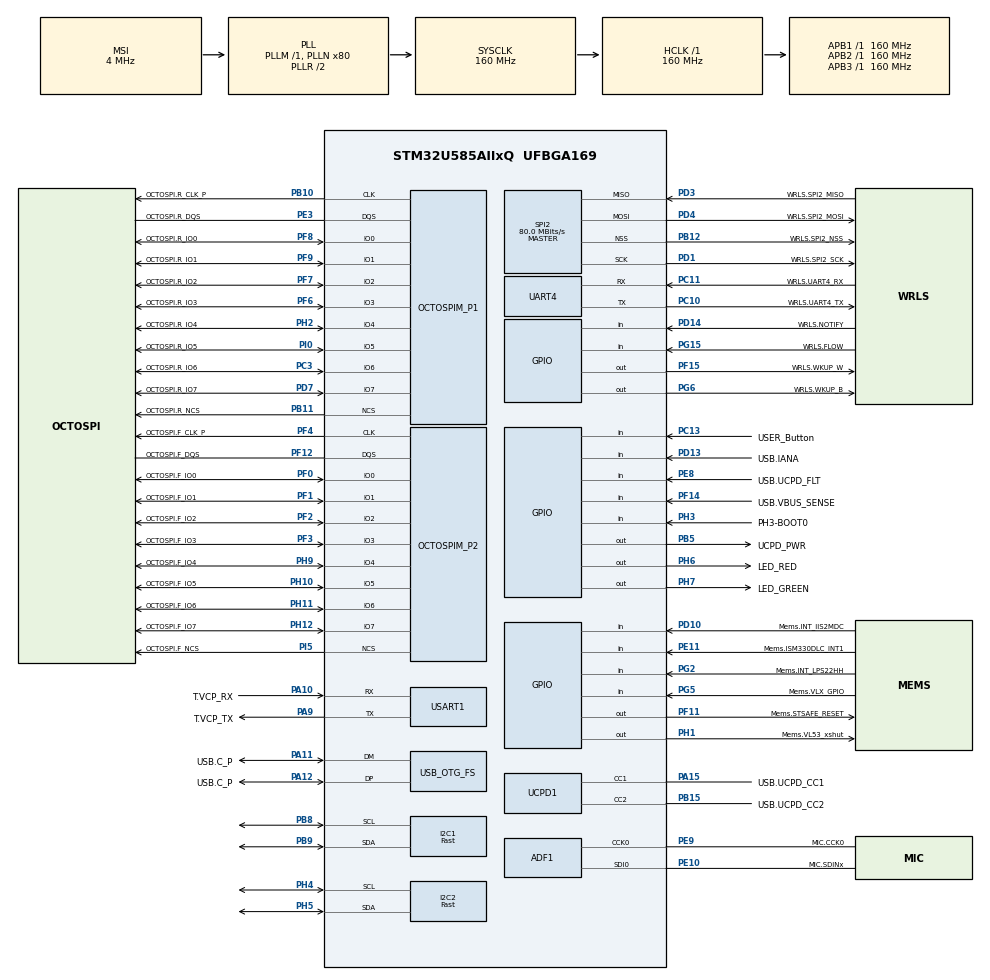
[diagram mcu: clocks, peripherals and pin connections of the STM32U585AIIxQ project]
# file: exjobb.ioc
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CORTEX_M33_NS.userName=CORTEX_M33
I2C1.I2C_Speed_Mode=I2C_Fast
I2C1.Timing=0x00F07BFF
I2C2.I2C_Speed_Mode=I2C_Fast
I2C2.Timing=0x00F07BFF
Mcu.Family=STM32U5
Mcu.Name=STM32U585AIIxQ
Mcu.Package=UFBGA169
NVIC.PriorityGroup=NVIC_PRIORITYGROUP_4
NVIC.TIM6_IRQn=true\:15\:0\:false\:false\:true\:false\:true\:true
NVIC.TimeBase=TIM6_IRQn
NVIC.TimeBaseIP=TIM6
NVIC.USART1_IRQn=true\:0\:0\:false\:false\:true\:true\:true\:true
OCTOSPI1.ChipSelectBoundary=10
OCTOSPI1.ClockPrescaler=2
OCTOSPI1.DelayBlockBypass=HAL_OSPI_DELAY_BLOCK_USED
OCTOSPI1.DelayHoldQuarterCycle=HAL_OSPI_DHQC_ENABLE
OCTOSPI1.DeviceSize=23
OCTOSPI1.MemoryType=HAL_OSPI_MEMTYPE_APMEMORY
OCTOSPI1.Refresh=100
OCTOSPI2.ChipSelectBoundary=0
OCTOSPI2.ChipSelectHighTime=2
OCTOSPI2.ClockPrescaler=4
OCTOSPI2.DelayBlockBypass=HAL_OSPI_DELAY_BLOCK_USED
OCTOSPI2.DelayHoldQuarterCycle=HAL_OSPI_DHQC_ENABLE
OCTOSPI2.DeviceSize=26
OCTOSPI2.FifoThreshold=4
OCTOSPI2.MemoryType=HAL_OSPI_MEMTYPE_MACRONIX
PA10.GPIO_Label=T.VCP_RX
PA10.Mode=Asynchronous
PA10.Signal=USART1_RX
PA11.GPIO_Label=USB.C_P
PA11.Mode=Device_Only
PA11.Signal=USB_OTG_FS_DM
PA12.GPIO_Label=USB.C_P
PA12.Mode=Device_Only
PA12.Signal=USB_OTG_FS_DP
PA13\ (JTMS/SWDIO).GPIO_Label=T.SWDIO
PA13\ (JTMS/SWDIO).Mode=Trace_Asynchronous_SW
PA13\ (JTMS/SWDIO).Signal=DEBUG_JTMS-SWDIO
PA14\ (JTCK/SWCLK).GPIO_Label=T.SWCLK
PA14\ (JTCK/SWCLK).Mode=Trace_Asynchronous_SW
PA14\ (JTCK/SWCLK).Signal=DEBUG_JTCK-SWCLK
PA15\ (JTDI).GPIO_Label=USB.UCPD_CC1
PA15\ (JTDI).Mode=Dual_Role_AllSignals
PA15\ (JTDI).Signal=UCPD1_CC1
PA9.GPIO_Label=T.VCP_TX
PA9.Mode=Asynchronous
PA9.Signal=USART1_TX
PB1.GPIO_Label=MIC.SDIN0
PB1.Signal=MDF1_SDI0
PB10.GPIO_Label=OCTOSPI.R_CLK_P
PB10.Mode=O1_P1_CLK
PB10.Signal=OCTOSPIM_P1_CLK
PB11.GPIO_Label=OCTOSPI.R_NCS
PB11.Mode=OCTOSPI1_Port1_NCS
PB11.Signal=OCTOSPIM_P1_NCS
PB12.GPIO_Label=WRLS.SPI2_NSS
PB12.Mode=NSS_Signal_Hard_Output
PB12.Signal=SPI2_NSS
PB15.GPIO_Label=USB.UCPD_CC2
PB15.Mode=Dual_Role_AllSignals
PB15.Signal=UCPD1_CC2
PB3\ (JTDO/TRACESWO).GPIO_Label=T.SWO
PB3\ (JTDO/TRACESWO).Mode=Trace_Asynchronous_SW
PB3\ (JTDO/TRACESWO).Signal=DEBUG_JTDO-SWO
PB5.GPIO_Label=UCPD_PWR
PB5.Signal=GPIO_Output
PB8.Mode=I2C
PB8.Signal=I2C1_SCL
PB9.Mode=I2C
PB9.Signal=I2C1_SDA
PC10.GPIO_Label=WRLS.UART4_TX
PC10.Mode=Asynchronous
PC10.Signal=UART4_TX
PC11.GPIO_Label=WRLS.UART4_RX
PC11.Mode=Asynchronous
PC11.Signal=UART4_RX
PC13.GPIO_Label=USER_Button
PC13.Signal=GPIO_Input
PC14-OSC32_IN\ (PC14).GPIO_Label=PC14-OSC32_IN
PC14-OSC32_IN\ (PC14).Mode=LSE-External-Oscillator
PC14-OSC32_IN\ (PC14).Signal=RCC_OSC32_IN
PC15-OSC32_OUT\ (PC15).GPIO_Label=PC15-OSC32_OUT
PC15-OSC32_OUT\ (PC15).Mode=LSE-External-Oscillator
PC15-OSC32_OUT\ (PC15).Signal=RCC_OSC32_OUT
PC3.GPIO_Label=OCTOSPI.R_IO6
PC3.Mode=OCTOSPI1_IOH_Port1H
PC3.Signal=OCTOSPIM_P1_IO6
PD1.GPIO_Label=WRLS.SPI2_SCK
PD1.Mode=Full_Duplex_Master
PD1.Signal=SPI2_SCK
PD10.GPIO_Label=Mems.INT_IIS2MDC
PD10.Signal=GPIO_Input
PD13.GPIO_Label=USB.IANA
PD13.Signal=GPIO_Input
PD14.GPIO_Label=WRLS.NOTIFY
PD14.Signal=GPIO_Input
PD3.GPIO_Label=WRLS.SPI2_MISO
PD3.Mode=Full_Duplex_Master
PD3.Signal=SPI2_MISO
PD4.GPIO_Label=WRLS.SPI2_MOSI
PD4.Mode=Full_Duplex_Master
PD4.Signal=SPI2_MOSI
PD7.GPIO_Label=OCTOSPI.R_IO7
PD7.Mode=OCTOSPI1_IOH_Port1H
PD7.Signal=OCTOSPIM_P1_IO7
PE10.GPIO_Label=MIC.SDINx
PE10.Mode=MOD_ADF_CCK
PE10.Signal=ADF1_SDI0
PE11.GPIO_Label=Mems.ISM330DLC_INT1
PE11.Signal=GPIO_Input
PE3.GPIO_Label=OCTOSPI.R_DQS
PE3.Mode=OCTOSPI1_Port1_DQS
PE3.Signal=OCTOSPIM_P1_DQS
PE8.GPIO_Label=USB.UCPD_FLT
PE8.Signal=GPIO_Input
PE9.GPIO_Label=MIC.CCK0
PE9.Mode=MOD_MDF_CCK0
PE9.Signal=ADF1_CCK0
PF0.GPIO_Label=OCTOSPI.F_IO0
PF0.Mode=OCTOSPI2_IOL_Port2L
PF0.Signal=OCTOSPIM_P2_IO0
PF1.GPIO_Label=OCTOSPI.F_IO1
PF1.Mode=OCTOSPI2_IOL_Port2L
PF1.Signal=OCTOSPIM_P2_IO1
PF10.GPIO_Label=MIC.CCK1
PF10.Signal=MDF1_CCK1
PF11.GPIO_Label=Mems.STSAFE_RESET
PF11.Signal=GPIO_Output
PF12.GPIO_Label=OCTOSPI.F_DQS
PF12.Mode=OCTOSPI2_Port2_DQS
PF12.Signal=OCTOSPIM_P2_DQS
PF14.GPIO_Label=USB.VBUS_SENSE
PF14.Signal=GPIO_Input
PF15.GPIO_Label=WRLS.WKUP_W
PF15.Signal=GPIO_Output
PF2.GPIO_Label=OCTOSPI.F_IO2
PF2.Mode=OCTOSPI2_IOL_Port2L
PF2.Signal=OCTOSPIM_P2_IO2
PF3.GPIO_Label=OCTOSPI.F_IO3
PF3.Mode=OCTOSPI2_IOL_Port2L
PF3.Signal=OCTOSPIM_P2_IO3
PF4.GPIO_Label=OCTOSPI.F_CLK_P
PF4.Mode=O2_P2_CLK
PF4.Signal=OCTOSPIM_P2_CLK
PF6.GPIO_Label=OCTOSPI.R_IO3
PF6.Mode=OCTOSPI1_IOL_Port1L
PF6.Signal=OCTOSPIM_P1_IO3
PF7.GPIO_Label=OCTOSPI.R_IO2
PF7.Mode=OCTOSPI1_IOL_Port1L
PF7.Signal=OCTOSPIM_P1_IO2
PF8.GPIO_Label=OCTOSPI.R_IO0
PF8.Mode=OCTOSPI1_IOL_Port1L
PF8.Signal=OCTOSPIM_P1_IO0
PF9.GPIO_Label=OCTOSPI.R_IO1
PF9.Mode=OCTOSPI1_IOL_Port1L
PF9.Signal=OCTOSPIM_P1_IO1
PG15.GPIO_Label=WRLS.FLOW
PG15.Signal=GPIO_Input
PG2.GPIO_Label=Mems.INT_LPS22HH
PG2.Signal=GPIO_Input
PG5.GPIO_Label=Mems.VLX_GPIO
PG5.Signal=GPIO_Input
PG6.GPIO_Label=WRLS.WKUP_B
PG6.Signal=GPIO_Output
PH1-OSC_OUT\ (PH1).GPIO_Label=Mems.VL53_xshut
PH1-OSC_OUT\ (PH1).Signal=GPIO_Output
PH10.GPIO_Label=OCTOSPI.F_IO5
PH10.Mode=OCTOSPI2_IOH_Port2H
PH10.Signal=OCTOSPIM_P2_IO5
PH11.GPIO_Label=OCTOSPI.F_IO6
PH11.Mode=OCTOSPI2_IOH_Port2H
PH11.Signal=OCTOSPIM_P2_IO6
PH12.GPIO_Label=OCTOSPI.F_IO7
PH12.Mode=OCTOSPI2_IOH_Port2H
PH12.Signal=OCTOSPIM_P2_IO7
PH2.GPIO_Label=OCTOSPI.R_IO4
PH2.Mode=OCTOSPI1_IOH_Port1H
PH2.Signal=OCTOSPIM_P1_IO4
PH3-BOOT0.GPIO_Label=PH3-BOOT0
PH3-BOOT0.Signal=GPIO_Input
PH4.Mode=I2C
PH4.Signal=I2C2_SCL
PH5.Mode=I2C
PH5.Signal=I2C2_SDA
PH6.GPIO_Label=LED_RED
PH6.Signal=GPIO_Output
PH7.GPIO_Label=LED_GREEN
PH7.Signal=GPIO_Output
PH9.GPIO_Label=OCTOSPI.F_IO4
PH9.Mode=OCTOSPI2_IOH_Port2H
PH9.Signal=OCTOSPIM_P2_IO4
PI0.GPIO_Label=OCTOSPI.R_IO5
PI0.Mode=OCTOSPI1_IOH_Port1H
PI0.Signal=OCTOSPIM_P1_IO5
PI5.GPIO_Label=OCTOSPI.F_NCS
PI5.Mode=OCTOSPI2_Port2_NCS
PI5.Signal=OCTOSPIM_P2_NCS
PWR.PowerMode=PWR_SMPS_SUPPLY
ProjectManager.HeapSize=0x200
ProjectManager.StackSize=0x400
ProjectManager.TargetToolchain=STM32CubeIDE
RCC.ADCFreq_Value=16000000
RCC.AHBFreq_Value=160000000
RCC.APB1Freq_Value=160000000
RCC.APB1TimFreq_Value=160000000
RCC.APB2Freq_Value=160000000
RCC.APB2TimFreq_Value=160000000
RCC.APB3Freq_Value=160000000
RCC.CortexFreq_Value=160000000
RCC.DACCLockSelectionVirtual=RCC_DAC1CLKSOURCE_LSI
RCC.EPOD_VALUE=4000000
RCC.HCLKFreq_Value=160000000
RCC.HSE_VALUE=16000000
RCC.HSI48_VALUE=48000000
RCC.HSI_VALUE=16000000
RCC.LSIDIV_VALUE=32000
RCC.MSI_VALUE=4000000
RCC.PLLN=80
RCC.SYSCLKFreq_VALUE=160000000
RCC.SYSCLKSource=RCC_SYSCLKSOURCE_PLLCLK
RCC.USBFreq_Value=48000000
RCC.VCOOutputFreq_Value=320000000
SPI2.CalculateBaudRate=80.0 MBits/s
SPI2.Direction=SPI_DIRECTION_2LINES
SPI2.Mode=SPI_MODE_MASTER
SPI2.VirtualNSS=VM_NSSHARD
SPI2.VirtualType=VM_MASTER
USART1.VirtualMode-Asynchronous=VM_ASYNC
USB_OTG_FS.VirtualMode=Device_Only
VP_ICACHE_VS_ICACHE.Mode=DirectMappedCache
VP_LPBAMQUEUE_VS_QUEUE.Mode=QUEUEMODE
VP_LPBAM_VS_SIG1.Mode=SmartRun
VP_LPBAM_VS_SIG4.Mode=LPDMA1
VP_MEMORYMAP_VS_MEMORYMAP.Mode=CurAppReg
VP_OCTOSPI1_VS_octo.Mode=octo_mode
VP_OCTOSPI2_VS_octo.Mode=octo_mode
VP_PWR_VS_DBSignals.Mode=DisableDeadBatterySignals
VP_PWR_VS_LPOM.Mode=PowerOptimisation
VP_PWR_VS_SECSignals.Mode=Security/Privilege
VP_SYS_VS_tim6.Mode=TIM6
board=B-U585I-IOT02A

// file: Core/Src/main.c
/* USER CODE BEGIN Header */
/**
  ******************************************************************************
  * @file           : main.c
  * @brief          : Main program body
  ******************************************************************************
  * @attention
  *
  * Copyright (c) 2025 STMicroelectronics.
  * All rights reserved.
  *
  * This software is licensed under terms that can be found in the LICENSE file
  * in the root directory of this software component.
  * If no LICENSE file comes with this software, it is provided AS-IS.
  *
  ******************************************************************************
  */
/* USER CODE END Header */
#include "main.h"

/* USER CODE BEGIN Includes */
#include <stdio.h>
#include <stdint.h>
#include <stdlib.h>
#include <string.h>

#include "stm32u5xx_hal.h"
#include "ism330dhcx.h"
#include "ism330dhcx_reg.h"

/* USER CODE END Includes */

/* USER CODE BEGIN PTD */
// packed --> avoid padding in UART
typedef struct __attribute__((packed)) {
    uint32_t timestamp;
    int16_t ax;
    int16_t ay;
    int16_t az;
} fifo_sample_t;

/* USER CODE END PTD */

/* USER CODE BEGIN PD */
#define RX_BUF_SIZE 64 //UART receive buffer size
#define WHO_AM_I_REG 0x0F
#define ISM330DHCX_ADDR  (0x6B << 1)
#define FIFO_SAMPLE_BUF_SIZE 1024
#define FIFO_FRAME_SIZE     7
#define FIFO_BLOCK_SAMPLES  64      // 32 samples per block read
#define FIFO_BLOCK_BYTES    (FIFO_FRAME_SIZE * FIFO_BLOCK_SAMPLES)
#define BIN_START_1  0xAA
#define BIN_START_2  0x55
#define BIN_END_1    0x55
#define BIN_END_2    0xAA
/* USER CODE END PD */

MDF_HandleTypeDef AdfHandle0;
MDF_FilterConfigTypeDef AdfFilterConfig0;

I2C_HandleTypeDef hi2c1;
I2C_HandleTypeDef hi2c2;

OSPI_HandleTypeDef hospi1;
OSPI_HandleTypeDef hospi2;

SPI_HandleTypeDef hspi2;

UART_HandleTypeDef huart4;
UART_HandleTypeDef huart1;

PCD_HandleTypeDef hpcd_USB_OTG_FS;

/* USER CODE BEGIN PV */
static uint8_t uart_rx_char;
static char uart_rx_buf[RX_BUF_SIZE]; //UART receive buffer
static uint8_t uart_rx_idx = 0;
static volatile uint8_t logging_enabled = 0; //Set when receiving start command
static uint16_t fifo_sample_count = 0; //Local buffer count
static uint32_t fs_total_samples = 0; //Used for calculating sample frequency
static uint32_t fs_t0_ms = 0;
static stmdev_ctx_t dev_ctx;

static uint8_t fifo_block[FIFO_BLOCK_BYTES]; //Temporary buffer for unpacking sensor queue samples (raw data)
static fifo_sample_t fifo_sample_buf[FIFO_SAMPLE_BUF_SIZE]; //Local buffer. Holds read samples from sensor FIFO queue. This queue is used when sending samples to UART

/* USER CODE END PV */

void SystemClock_Config(void);
static void SystemPower_Config(void);
static void MX_GPIO_Init(void);
static void MX_ADF1_Init(void);
static void MX_I2C1_Init(void);
static void MX_I2C2_Init(void);
static void MX_ICACHE_Init(void);
static void MX_OCTOSPI1_Init(void);
static void MX_OCTOSPI2_Init(void);
static void MX_SPI2_Init(void);
static void MX_UART4_Init(void);
static void MX_USART1_UART_Init(void);
static void MX_UCPD1_Init(void);
static void MX_USB_OTG_FS_PCD_Init(void);
/* USER CODE BEGIN PFP */

static void ISM330DHCX_StartSampling(void);
static void ISM330DHCX_StopSampling(void);
void HandleUartCommand(const char *cmd);
static void FifoBuff_Push(int16_t ax, int16_t ay, int16_t az, uint32_t ts);
static void SendFIFOBuff_UART(void);
static void ReadFIFOBlock(void);
static void ISM330DHCX_SensorInit(void);

/* USER CODE END PFP */

/* USER CODE BEGIN 0 */
//Enable printf to use UART
int __io_putchar(int ch)
{
    HAL_UART_Transmit(&huart1, (uint8_t*)&ch, 1, HAL_MAX_DELAY);
    return ch;
}

static int32_t platform_read(void *handle, uint8_t reg,
                             uint8_t *buf, uint16_t len)
{
    return (HAL_I2C_Mem_Read(
        (I2C_HandleTypeDef *)handle,
        ISM330DHCX_ADDR,
        reg,
        I2C_MEMADD_SIZE_8BIT,
        buf,
        len,
        HAL_MAX_DELAY) == HAL_OK) ? 0 : -1;
}

static int32_t platform_write(void *handle, uint8_t reg,
                              uint8_t *buf, uint16_t len)
{
    return (HAL_I2C_Mem_Write(
        (I2C_HandleTypeDef *)handle,
        ISM330DHCX_ADDR,
        reg,
        I2C_MEMADD_SIZE_8BIT,
        buf,
        len,
        HAL_MAX_DELAY) == HAL_OK) ? 0 : -1;
}
/* USER CODE END 0 */

int main(void)
{

  /* MCU Configuration--------------------------------------------------------*/

  /* Reset of all peripherals, Initializes the Flash interface and the Systick. */
  HAL_Init();

  /* Configure the System Power */
  SystemPower_Config();

  /* Configure the system clock */
  SystemClock_Config();

  /* Initialize all configured peripherals */
  MX_GPIO_Init();
  MX_ADF1_Init();
  MX_I2C1_Init();
  MX_I2C2_Init();
  MX_ICACHE_Init();
  MX_OCTOSPI1_Init();
  MX_OCTOSPI2_Init();
  MX_SPI2_Init();
  MX_UART4_Init();
  MX_USART1_UART_Init();
  MX_UCPD1_Init();
  MX_USB_OTG_FS_PCD_Init();

  /* USER CODE BEGIN 2 */

  //printf("BOOT OK\r\n");
  ISM330DHCX_SensorInit();

  //Enable UART receive commands (START & STOP from UI)
  HAL_UART_Receive_IT(&huart1, &uart_rx_char, 1);
  /* USER CODE END 2 */

  /* Infinite loop */
  /* USER CODE BEGIN WHILE */
  while (1)
  {
	  if (logging_enabled)
	  {
		  //printf("Collecting...\r\n");
		  //Read block of n size from sensor FIFO queue
		  ReadFIFOBlock();
	  }

	  // Dump buffer when full
	  if (fifo_sample_count >= FIFO_SAMPLE_BUF_SIZE)
	  {
		  SendFIFOBuff_UART();
		  fifo_sample_count = 0; //Buffer is now empty
	  }

	  /* USER CODE END WHILE */
  }
}

void SystemClock_Config(void)
{
  RCC_OscInitTypeDef RCC_OscInitStruct = {0};
  RCC_ClkInitTypeDef RCC_ClkInitStruct = {0};

  /** Configure the main internal regulator output voltage
  */
  if (HAL_PWREx_ControlVoltageScaling(PWR_REGULATOR_VOLTAGE_SCALE1) != HAL_OK)
  {
    Error_Handler();
  }

  /** Initializes the CPU, AHB and APB buses clocks
  */
  RCC_OscInitStruct.OscillatorType = RCC_OSCILLATORTYPE_HSI48|RCC_OSCILLATORTYPE_HSI
                              |RCC_OSCILLATORTYPE_MSI;
  RCC_OscInitStruct.HSIState = RCC_HSI_ON;
  RCC_OscInitStruct.HSI48State = RCC_HSI48_ON;
  RCC_OscInitStruct.HSICalibrationValue = RCC_HSICALIBRATION_DEFAULT;
  RCC_OscInitStruct.MSIState = RCC_MSI_ON;
  RCC_OscInitStruct.MSICalibrationValue = RCC_MSICALIBRATION_DEFAULT;
  RCC_OscInitStruct.MSIClockRange = RCC_MSIRANGE_4;
  RCC_OscInitStruct.PLL.PLLState = RCC_PLL_ON;
  RCC_OscInitStruct.PLL.PLLSource = RCC_PLLSOURCE_MSI;
  RCC_OscInitStruct.PLL.PLLMBOOST = RCC_PLLMBOOST_DIV1;
  RCC_OscInitStruct.PLL.PLLM = 1;
  RCC_OscInitStruct.PLL.PLLN = 80;
  RCC_OscInitStruct.PLL.PLLP = 2;
  RCC_OscInitStruct.PLL.PLLQ = 2;
  RCC_OscInitStruct.PLL.PLLR = 2;
  RCC_OscInitStruct.PLL.PLLRGE = RCC_PLLVCIRANGE_0;
  RCC_OscInitStruct.PLL.PLLFRACN = 0;
  if (HAL_RCC_OscConfig(&RCC_OscInitStruct) != HAL_OK)
  {
    Error_Handler();
  }

  /** Initializes the CPU, AHB and APB buses clocks
  */
  RCC_ClkInitStruct.ClockType = RCC_CLOCKTYPE_HCLK|RCC_CLOCKTYPE_SYSCLK
                              |RCC_CLOCKTYPE_PCLK1|RCC_CLOCKTYPE_PCLK2
                              |RCC_CLOCKTYPE_PCLK3;
  RCC_ClkInitStruct.SYSCLKSource = RCC_SYSCLKSOURCE_PLLCLK;
  RCC_ClkInitStruct.AHBCLKDivider = RCC_SYSCLK_DIV1;
  RCC_ClkInitStruct.APB1CLKDivider = RCC_HCLK_DIV1;
  RCC_ClkInitStruct.APB2CLKDivider = RCC_HCLK_DIV1;
  RCC_ClkInitStruct.APB3CLKDivider = RCC_HCLK_DIV1;

  if (HAL_RCC_ClockConfig(&RCC_ClkInitStruct, FLASH_LATENCY_4) != HAL_OK)
  {
    Error_Handler();
  }
}

/**
  * @brief Power Configuration
  * @retval None
  */
static void SystemPower_Config(void)
{
  HAL_PWREx_EnableVddIO2();

  /*
   * Switch to SMPS regulator instead of LDO
   */
  if (HAL_PWREx_ConfigSupply(PWR_SMPS_SUPPLY) != HAL_OK)
  {
    Error_Handler();
  }
}

static void MX_ADF1_Init(void)
{

  /**
    AdfHandle0 structure initialization and HAL_MDF_Init function call
  */
  AdfHandle0.Instance = ADF1_Filter0;
  AdfHandle0.Init.CommonParam.ProcClockDivider = 1;
  AdfHandle0.Init.CommonParam.OutputClock.Activation = DISABLE;
  AdfHandle0.Init.SerialInterface.Activation = ENABLE;
  AdfHandle0.Init.SerialInterface.Mode = MDF_SITF_LF_MASTER_SPI_MODE;
  AdfHandle0.Init.SerialInterface.ClockSource = MDF_SITF_CCK0_SOURCE;
  AdfHandle0.Init.SerialInterface.Threshold = 4;
  AdfHandle0.Init.FilterBistream = MDF_BITSTREAM0_FALLING;
  if (HAL_MDF_Init(&AdfHandle0) != HAL_OK)
  {
    Error_Handler();
  }

  /**
    AdfFilterConfig0 structure initialization

    WARNING : only structure is filled, no specific init function call for filter
  */
  AdfFilterConfig0.DataSource = MDF_DATA_SOURCE_BSMX;
  AdfFilterConfig0.Delay = 0;
  AdfFilterConfig0.CicMode = MDF_ONE_FILTER_SINC4;
  AdfFilterConfig0.DecimationRatio = 2;
  AdfFilterConfig0.Gain = 0;
  AdfFilterConfig0.ReshapeFilter.Activation = DISABLE;
  AdfFilterConfig0.HighPassFilter.Activation = DISABLE;
  AdfFilterConfig0.SoundActivity.Activation = DISABLE;
  AdfFilterConfig0.AcquisitionMode = MDF_MODE_ASYNC_CONT;
  AdfFilterConfig0.FifoThreshold = MDF_FIFO_THRESHOLD_NOT_EMPTY;
  AdfFilterConfig0.DiscardSamples = 0;

}

static void MX_I2C1_Init(void)
{

  hi2c1.Instance = I2C1;
  hi2c1.Init.Timing = 0x00F07BFF;
  hi2c1.Init.OwnAddress1 = 0;
  hi2c1.Init.AddressingMode = I2C_ADDRESSINGMODE_7BIT;
  hi2c1.Init.DualAddressMode = I2C_DUALADDRESS_DISABLE;
  hi2c1.Init.OwnAddress2 = 0;
  hi2c1.Init.OwnAddress2Masks = I2C_OA2_NOMASK;
  hi2c1.Init.GeneralCallMode = I2C_GENERALCALL_DISABLE;
  hi2c1.Init.NoStretchMode = I2C_NOSTRETCH_DISABLE;
  if (HAL_I2C_Init(&hi2c1) != HAL_OK)
  {
    Error_Handler();
  }

  /** Configure Analogue filter
  */
  if (HAL_I2CEx_ConfigAnalogFilter(&hi2c1, I2C_ANALOGFILTER_ENABLE) != HAL_OK)
  {
    Error_Handler();
  }

  /** Configure Digital filter
  */
  if (HAL_I2CEx_ConfigDigitalFilter(&hi2c1, 0) != HAL_OK)
  {
    Error_Handler();
  }

}

static void MX_I2C2_Init(void)
{

  hi2c2.Instance = I2C2;
  hi2c2.Init.Timing = 0x00F07BFF;
  hi2c2.Init.OwnAddress1 = 0;
  hi2c2.Init.AddressingMode = I2C_ADDRESSINGMODE_7BIT;
  hi2c2.Init.DualAddressMode = I2C_DUALADDRESS_DISABLE;
  hi2c2.Init.OwnAddress2 = 0;
  hi2c2.Init.OwnAddress2Masks = I2C_OA2_NOMASK;
  hi2c2.Init.GeneralCallMode = I2C_GENERALCALL_DISABLE;
  hi2c2.Init.NoStretchMode = I2C_NOSTRETCH_DISABLE;
  if (HAL_I2C_Init(&hi2c2) != HAL_OK)
  {
    Error_Handler();
  }

  /** Configure Analogue filter
  */
  if (HAL_I2CEx_ConfigAnalogFilter(&hi2c2, I2C_ANALOGFILTER_ENABLE) != HAL_OK)
  {
    Error_Handler();
  }

  /** Configure Digital filter
  */
  if (HAL_I2CEx_ConfigDigitalFilter(&hi2c2, 0) != HAL_OK)
  {
    Error_Handler();
  }

}

static void MX_ICACHE_Init(void)
{

  /** Enable instruction cache in 1-way (direct mapped cache)
  */
  if (HAL_ICACHE_ConfigAssociativityMode(ICACHE_1WAY) != HAL_OK)
  {
    Error_Handler();
  }
  if (HAL_ICACHE_Enable() != HAL_OK)
  {
    Error_Handler();
  }

}

static void MX_OCTOSPI1_Init(void)
{

  OSPIM_CfgTypeDef sOspiManagerCfg = {0};
  HAL_OSPI_DLYB_CfgTypeDef HAL_OSPI_DLYB_Cfg_Struct = {0};

  /* OCTOSPI1 parameter configuration*/
  hospi1.Instance = OCTOSPI1;
  hospi1.Init.FifoThreshold = 1;
  hospi1.Init.DualQuad = HAL_OSPI_DUALQUAD_DISABLE;
  hospi1.Init.MemoryType = HAL_OSPI_MEMTYPE_APMEMORY;
  hospi1.Init.DeviceSize = 23;
  hospi1.Init.ChipSelectHighTime = 1;
  hospi1.Init.FreeRunningClock = HAL_OSPI_FREERUNCLK_DISABLE;
  hospi1.Init.ClockMode = HAL_OSPI_CLOCK_MODE_0;
  hospi1.Init.WrapSize = HAL_OSPI_WRAP_NOT_SUPPORTED;
  hospi1.Init.ClockPrescaler = 2;
  hospi1.Init.SampleShifting = HAL_OSPI_SAMPLE_SHIFTING_NONE;
  hospi1.Init.DelayHoldQuarterCycle = HAL_OSPI_DHQC_ENABLE;
  hospi1.Init.ChipSelectBoundary = 10;
  hospi1.Init.DelayBlockBypass = HAL_OSPI_DELAY_BLOCK_USED;
  hospi1.Init.MaxTran = 0;
  hospi1.Init.Refresh = 100;
  if (HAL_OSPI_Init(&hospi1) != HAL_OK)
  {
    Error_Handler();
  }
  sOspiManagerCfg.ClkPort = 1;
  sOspiManagerCfg.DQSPort = 1;
  sOspiManagerCfg.NCSPort = 1;
  sOspiManagerCfg.IOLowPort = HAL_OSPIM_IOPORT_1_LOW;
  sOspiManagerCfg.IOHighPort = HAL_OSPIM_IOPORT_1_HIGH;
  if (HAL_OSPIM_Config(&hospi1, &sOspiManagerCfg, HAL_OSPI_TIMEOUT_DEFAULT_VALUE) != HAL_OK)
  {
    Error_Handler();
  }
  HAL_OSPI_DLYB_Cfg_Struct.Units = 0;
  HAL_OSPI_DLYB_Cfg_Struct.PhaseSel = 0;
  if (HAL_OSPI_DLYB_SetConfig(&hospi1, &HAL_OSPI_DLYB_Cfg_Struct) != HAL_OK)
  {
    Error_Handler();
  }

}

static void MX_OCTOSPI2_Init(void)
{

  OSPIM_CfgTypeDef sOspiManagerCfg = {0};
  HAL_OSPI_DLYB_CfgTypeDef HAL_OSPI_DLYB_Cfg_Struct = {0};

  /* OCTOSPI2 parameter configuration*/
  hospi2.Instance = OCTOSPI2;
  hospi2.Init.FifoThreshold = 4;
  hospi2.Init.DualQuad = HAL_OSPI_DUALQUAD_DISABLE;
  hospi2.Init.MemoryType = HAL_OSPI_MEMTYPE_MACRONIX;
  hospi2.Init.DeviceSize = 26;
  hospi2.Init.ChipSelectHighTime = 2;
  hospi2.Init.FreeRunningClock = HAL_OSPI_FREERUNCLK_DISABLE;
  hospi2.Init.ClockMode = HAL_OSPI_CLOCK_MODE_0;
  hospi2.Init.WrapSize = HAL_OSPI_WRAP_NOT_SUPPORTED;
  hospi2.Init.ClockPrescaler = 4;
  hospi2.Init.SampleShifting = HAL_OSPI_SAMPLE_SHIFTING_NONE;
  hospi2.Init.DelayHoldQuarterCycle = HAL_OSPI_DHQC_ENABLE;
  hospi2.Init.ChipSelectBoundary = 0;
  hospi2.Init.DelayBlockBypass = HAL_OSPI_DELAY_BLOCK_USED;
  hospi2.Init.MaxTran = 0;
  hospi2.Init.Refresh = 0;
  if (HAL_OSPI_Init(&hospi2) != HAL_OK)
  {
    Error_Handler();
  }
  sOspiManagerCfg.ClkPort = 2;
  sOspiManagerCfg.DQSPort = 2;
  sOspiManagerCfg.NCSPort = 2;
  sOspiManagerCfg.IOLowPort = HAL_OSPIM_IOPORT_2_LOW;
  sOspiManagerCfg.IOHighPort = HAL_OSPIM_IOPORT_2_HIGH;
  if (HAL_OSPIM_Config(&hospi2, &sOspiManagerCfg, HAL_OSPI_TIMEOUT_DEFAULT_VALUE) != HAL_OK)
  {
    Error_Handler();
  }
  HAL_OSPI_DLYB_Cfg_Struct.Units = 0;
  HAL_OSPI_DLYB_Cfg_Struct.PhaseSel = 0;
  if (HAL_OSPI_DLYB_SetConfig(&hospi2, &HAL_OSPI_DLYB_Cfg_Struct) != HAL_OK)
  {
    Error_Handler();
  }

}

static void MX_SPI2_Init(void)
{

  SPI_AutonomousModeConfTypeDef HAL_SPI_AutonomousMode_Cfg_Struct = {0};

  /* SPI2 parameter configuration*/
  hspi2.Instance = SPI2;
  hspi2.Init.Mode = SPI_MODE_MASTER;
  hspi2.Init.Direction = SPI_DIRECTION_2LINES;
  hspi2.Init.DataSize = SPI_DATASIZE_4BIT;
  hspi2.Init.CLKPolarity = SPI_POLARITY_LOW;
  hspi2.Init.CLKPhase = SPI_PHASE_1EDGE;
  hspi2.Init.NSS = SPI_NSS_HARD_OUTPUT;
  hspi2.Init.BaudRatePrescaler = SPI_BAUDRATEPRESCALER_2;
  hspi2.Init.FirstBit = SPI_FIRSTBIT_MSB;
  hspi2.Init.TIMode = SPI_TIMODE_DISABLE;
  hspi2.Init.CRCCalculation = SPI_CRCCALCULATION_DISABLE;
  hspi2.Init.CRCPolynomial = 0x7;
  hspi2.Init.NSSPMode = SPI_NSS_PULSE_ENABLE;
  hspi2.Init.NSSPolarity = SPI_NSS_POLARITY_LOW;
  hspi2.Init.FifoThreshold = SPI_FIFO_THRESHOLD_01DATA;
  hspi2.Init.MasterSSIdleness = SPI_MASTER_SS_IDLENESS_00CYCLE;
  hspi2.Init.MasterInterDataIdleness = SPI_MASTER_INTERDATA_IDLENESS_00CYCLE;
  hspi2.Init.MasterReceiverAutoSusp = SPI_MASTER_RX_AUTOSUSP_DISABLE;
  hspi2.Init.MasterKeepIOState = SPI_MASTER_KEEP_IO_STATE_DISABLE;
  hspi2.Init.IOSwap = SPI_IO_SWAP_DISABLE;
  hspi2.Init.ReadyMasterManagement = SPI_RDY_MASTER_MANAGEMENT_INTERNALLY;
  hspi2.Init.ReadyPolarity = SPI_RDY_POLARITY_HIGH;
  if (HAL_SPI_Init(&hspi2) != HAL_OK)
  {
    Error_Handler();
  }
  HAL_SPI_AutonomousMode_Cfg_Struct.TriggerState = SPI_AUTO_MODE_DISABLE;
  HAL_SPI_AutonomousMode_Cfg_Struct.TriggerSelection = SPI_GRP1_GPDMA_CH0_TCF_TRG;
  HAL_SPI_AutonomousMode_Cfg_Struct.TriggerPolarity = SPI_TRIG_POLARITY_RISING;
  if (HAL_SPIEx_SetConfigAutonomousMode(&hspi2, &HAL_SPI_AutonomousMode_Cfg_Struct) != HAL_OK)
  {
    Error_Handler();
  }

}

static void MX_UART4_Init(void)
{

  huart4.Instance = UART4;
  huart4.Init.BaudRate = 115200;
  huart4.Init.WordLength = UART_WORDLENGTH_8B;
  huart4.Init.StopBits = UART_STOPBITS_1;
  huart4.Init.Parity = UART_PARITY_NONE;
  huart4.Init.Mode = UART_MODE_TX_RX;
  huart4.Init.HwFlowCtl = UART_HWCONTROL_NONE;
  huart4.Init.OverSampling = UART_OVERSAMPLING_16;
  huart4.Init.OneBitSampling = UART_ONE_BIT_SAMPLE_DISABLE;
  huart4.Init.ClockPrescaler = UART_PRESCALER_DIV1;
  huart4.AdvancedInit.AdvFeatureInit = UART_ADVFEATURE_NO_INIT;
  if (HAL_UART_Init(&huart4) != HAL_OK)
  {
    Error_Handler();
  }
  if (HAL_UARTEx_SetTxFifoThreshold(&huart4, UART_TXFIFO_THRESHOLD_1_8) != HAL_OK)
  {
    Error_Handler();
  }
  if (HAL_UARTEx_SetRxFifoThreshold(&huart4, UART_RXFIFO_THRESHOLD_1_8) != HAL_OK)
  {
    Error_Handler();
  }
  if (HAL_UARTEx_DisableFifoMode(&huart4) != HAL_OK)
  {
    Error_Handler();
  }

}

static void MX_USART1_UART_Init(void)
{

  huart1.Instance = USART1;
  huart1.Init.BaudRate = 921600;
  huart1.Init.WordLength = UART_WORDLENGTH_8B;
  huart1.Init.StopBits = UART_STOPBITS_1;
  huart1.Init.Parity = UART_PARITY_NONE;
  huart1.Init.Mode = UART_MODE_TX_RX;
  huart1.Init.HwFlowCtl = UART_HWCONTROL_NONE;
  huart1.Init.OverSampling = UART_OVERSAMPLING_16;
  huart1.Init.OneBitSampling = UART_ONE_BIT_SAMPLE_DISABLE;
  huart1.Init.ClockPrescaler = UART_PRESCALER_DIV1;
  huart1.AdvancedInit.AdvFeatureInit = UART_ADVFEATURE_NO_INIT;
  if (HAL_UART_Init(&huart1) != HAL_OK)
  {
    Error_Handler();
  }
  if (HAL_UARTEx_SetTxFifoThreshold(&huart1, UART_TXFIFO_THRESHOLD_1_8) != HAL_OK)
  {
    Error_Handler();
  }
  if (HAL_UARTEx_SetRxFifoThreshold(&huart1, UART_RXFIFO_THRESHOLD_1_8) != HAL_OK)
  {
    Error_Handler();
  }
  if (HAL_UARTEx_DisableFifoMode(&huart1) != HAL_OK)
  {
    Error_Handler();
  }

}

static void MX_UCPD1_Init(void)
{

  LL_GPIO_InitTypeDef GPIO_InitStruct = {0};

  /* Peripheral clock enable */
  LL_APB1_GRP2_EnableClock(LL_APB1_GRP2_PERIPH_UCPD1);

  LL_AHB2_GRP1_EnableClock(LL_AHB2_GRP1_PERIPH_GPIOA);
  LL_AHB2_GRP1_EnableClock(LL_AHB2_GRP1_PERIPH_GPIOB);
  /**UCPD1 GPIO Configuration
  PA15 (JTDI)   ------> UCPD1_CC1
  PB15   ------> UCPD1_CC2
  */
  GPIO_InitStruct.Pin = LL_GPIO_PIN_15;
  GPIO_InitStruct.Mode = LL_GPIO_MODE_ANALOG;
  GPIO_InitStruct.Pull = LL_GPIO_PULL_NO;
  LL_GPIO_Init(GPIOA, &GPIO_InitStruct);

  GPIO_InitStruct.Pin = LL_GPIO_PIN_15;
  GPIO_InitStruct.Mode = LL_GPIO_MODE_ANALOG;
  GPIO_InitStruct.Pull = LL_GPIO_PULL_NO;
  LL_GPIO_Init(GPIOB, &GPIO_InitStruct);

}

static void MX_USB_OTG_FS_PCD_Init(void)
{

  hpcd_USB_OTG_FS.Instance = USB_OTG_FS;
  hpcd_USB_OTG_FS.Init.dev_endpoints = 6;
  hpcd_USB_OTG_FS.Init.speed = PCD_SPEED_FULL;
  hpcd_USB_OTG_FS.Init.phy_itface = PCD_PHY_EMBEDDED;
  hpcd_USB_OTG_FS.Init.Sof_enable = DISABLE;
  hpcd_USB_OTG_FS.Init.low_power_enable = DISABLE;
  hpcd_USB_OTG_FS.Init.lpm_enable = DISABLE;
  hpcd_USB_OTG_FS.Init.battery_charging_enable = DISABLE;
  hpcd_USB_OTG_FS.Init.use_dedicated_ep1 = DISABLE;
  hpcd_USB_OTG_FS.Init.vbus_sensing_enable = DISABLE;
  hpcd_USB_OTG_FS.Init.dma_enable = DISABLE;
  if (HAL_PCD_Init(&hpcd_USB_OTG_FS) != HAL_OK)
  {
    Error_Handler();
  }

}

static void MX_GPIO_Init(void)
{
  GPIO_InitTypeDef GPIO_InitStruct = {0};

  /* GPIO Ports Clock Enable */
  __HAL_RCC_GPIOG_CLK_ENABLE();
  __HAL_RCC_GPIOC_CLK_ENABLE();
  __HAL_RCC_GPIOA_CLK_ENABLE();
  __HAL_RCC_GPIOI_CLK_ENABLE();
  __HAL_RCC_GPIOH_CLK_ENABLE();
  __HAL_RCC_GPIOB_CLK_ENABLE();
  __HAL_RCC_GPIOD_CLK_ENABLE();
  __HAL_RCC_GPIOE_CLK_ENABLE();
  __HAL_RCC_GPIOF_CLK_ENABLE();

  /*Configure GPIO pin Output Level */
  HAL_GPIO_WritePin(UCPD_PWR_GPIO_Port, UCPD_PWR_Pin, GPIO_PIN_RESET);

  /*Configure GPIO pin Output Level */
  HAL_GPIO_WritePin(GPIOH, LED_RED_Pin|LED_GREEN_Pin|Mems_VL53_xshut_Pin, GPIO_PIN_RESET);

  /*Configure GPIO pin Output Level */
  HAL_GPIO_WritePin(WRLS_WKUP_B_GPIO_Port, WRLS_WKUP_B_Pin, GPIO_PIN_RESET);

  /*Configure GPIO pin Output Level */
  HAL_GPIO_WritePin(GPIOF, Mems_STSAFE_RESET_Pin|WRLS_WKUP_W_Pin, GPIO_PIN_RESET);

  /*Configure GPIO pins : WRLS_FLOW_Pin Mems_VLX_GPIO_Pin Mems_INT_LPS22HH_Pin */
  GPIO_InitStruct.Pin = WRLS_FLOW_Pin|Mems_VLX_GPIO_Pin|Mems_INT_LPS22HH_Pin;
  GPIO_InitStruct.Mode = GPIO_MODE_INPUT;
  GPIO_InitStruct.Pull = GPIO_NOPULL;
  HAL_GPIO_Init(GPIOG, &GPIO_InitStruct);

  /*Configure GPIO pin : PH3_BOOT0_Pin */
  GPIO_InitStruct.Pin = PH3_BOOT0_Pin;
  GPIO_InitStruct.Mode = GPIO_MODE_INPUT;
  GPIO_InitStruct.Pull = GPIO_NOPULL;
  HAL_GPIO_Init(PH3_BOOT0_GPIO_Port, &GPIO_InitStruct);

  /*Configure GPIO pin : UCPD_PWR_Pin */
  GPIO_InitStruct.Pin = UCPD_PWR_Pin;
  GPIO_InitStruct.Mode = GPIO_MODE_OUTPUT_PP;
  GPIO_InitStruct.Pull = GPIO_NOPULL;
  GPIO_InitStruct.Speed = GPIO_SPEED_FREQ_LOW;
  HAL_GPIO_Init(UCPD_PWR_GPIO_Port, &GPIO_InitStruct);

  /*Configure GPIO pin : USER_Button_Pin */
  GPIO_InitStruct.Pin = USER_Button_Pin;
  GPIO_InitStruct.Mode = GPIO_MODE_INPUT;
  GPIO_InitStruct.Pull = GPIO_NOPULL;
  HAL_GPIO_Init(USER_Button_GPIO_Port, &GPIO_InitStruct);

  /*Configure GPIO pins : LED_RED_Pin LED_GREEN_Pin Mems_VL53_xshut_Pin */
  GPIO_InitStruct.Pin = LED_RED_Pin|LED_GREEN_Pin|Mems_VL53_xshut_Pin;
  GPIO_InitStruct.Mode = GPIO_MODE_OUTPUT_PP;
  GPIO_InitStruct.Pull = GPIO_NOPULL;
  GPIO_InitStruct.Speed = GPIO_SPEED_FREQ_LOW;
  HAL_GPIO_Init(GPIOH, &GPIO_InitStruct);

  /*Configure GPIO pin : MIC_CCK1_Pin */
  GPIO_InitStruct.Pin = MIC_CCK1_Pin;
  GPIO_InitStruct.Mode = GPIO_MODE_AF_PP;
  GPIO_InitStruct.Pull = GPIO_NOPULL;
  GPIO_InitStruct.Speed = GPIO_SPEED_FREQ_LOW;
  GPIO_InitStruct.Alternate = GPIO_AF6_MDF1;
  HAL_GPIO_Init(MIC_CCK1_GPIO_Port, &GPIO_InitStruct);

  /*Configure GPIO pin : WRLS_WKUP_B_Pin */
  GPIO_InitStruct.Pin = WRLS_WKUP_B_Pin;
  GPIO_InitStruct.Mode = GPIO_MODE_OUTPUT_PP;
  GPIO_InitStruct.Pull = GPIO_NOPULL;
  GPIO_InitStruct.Speed = GPIO_SPEED_FREQ_LOW;
  HAL_GPIO_Init(WRLS_WKUP_B_GPIO_Port, &GPIO_InitStruct);

  /*Configure GPIO pins : WRLS_NOTIFY_Pin Mems_INT_IIS2MDC_Pin USB_IANA_Pin */
  GPIO_InitStruct.Pin = WRLS_NOTIFY_Pin|Mems_INT_IIS2MDC_Pin|USB_IANA_Pin;
  GPIO_InitStruct.Mode = GPIO_MODE_INPUT;
  GPIO_InitStruct.Pull = GPIO_NOPULL;
  HAL_GPIO_Init(GPIOD, &GPIO_InitStruct);

  /*Configure GPIO pins : USB_UCPD_FLT_Pin Mems_ISM330DLC_INT1_Pin */
  GPIO_InitStruct.Pin = USB_UCPD_FLT_Pin|Mems_ISM330DLC_INT1_Pin;
  GPIO_InitStruct.Mode = GPIO_MODE_INPUT;
  GPIO_InitStruct.Pull = GPIO_NOPULL;
  HAL_GPIO_Init(GPIOE, &GPIO_InitStruct);

  /*Configure GPIO pin : USB_VBUS_SENSE_Pin */
  GPIO_InitStruct.Pin = USB_VBUS_SENSE_Pin;
  GPIO_InitStruct.Mode = GPIO_MODE_INPUT;
  GPIO_InitStruct.Pull = GPIO_NOPULL;
  HAL_GPIO_Init(USB_VBUS_SENSE_GPIO_Port, &GPIO_InitStruct);

  /*Configure GPIO pins : Mems_STSAFE_RESET_Pin WRLS_WKUP_W_Pin */
  GPIO_InitStruct.Pin = Mems_STSAFE_RESET_Pin|WRLS_WKUP_W_Pin;
  GPIO_InitStruct.Mode = GPIO_MODE_OUTPUT_PP;
  GPIO_InitStruct.Pull = GPIO_NOPULL;
  GPIO_InitStruct.Speed = GPIO_SPEED_FREQ_LOW;
  HAL_GPIO_Init(GPIOF, &GPIO_InitStruct);

  /*Configure GPIO pin : MIC_SDIN0_Pin */
  GPIO_InitStruct.Pin = MIC_SDIN0_Pin;
  GPIO_InitStruct.Mode = GPIO_MODE_AF_PP;
  GPIO_InitStruct.Pull = GPIO_NOPULL;
  GPIO_InitStruct.Speed = GPIO_SPEED_FREQ_LOW;
  GPIO_InitStruct.Alternate = GPIO_AF6_MDF1;
  HAL_GPIO_Init(MIC_SDIN0_GPIO_Port, &GPIO_InitStruct);

}

/* USER CODE BEGIN 4 */
void HAL_UART_RxCpltCallback(UART_HandleTypeDef *huart)
{

	if (huart->Instance != USART1)
	  {
		return;
	  }

	  char c = uart_rx_char;

	  // Ignore CR
	  if (c == '\r')
	  {

	    HAL_UART_Receive_IT(&huart1, &uart_rx_char, 1);
		return;
	  }

	  // End of command
	  if (c == '\n')
	  {
	    uart_rx_buf[uart_rx_idx] = '\0';

	    /* SKICKA VIDARE – INGEN LOGG HÄR */
	    //printf("RX buf: %s\r\n", uart_rx_buf);
	    HandleUartCommand(uart_rx_buf);
	    // RESET BUFFER
		uart_rx_idx = 0;
		memset(uart_rx_buf, 0, sizeof(uart_rx_buf));
	  }
	  else
	  {
	    if (uart_rx_idx < sizeof(uart_rx_buf) - 1)
	    {
	      uart_rx_buf[uart_rx_idx++] = c;
	    }
	    else
	    {
	      // overflow protection
	      memset(uart_rx_buf, 0, sizeof(uart_rx_buf));
	      uart_rx_idx = 0;
	    }
	  }

	  // ALWAYS restart RX
	  HAL_UART_Receive_IT(&huart1, &uart_rx_char, 1);
}

void HandleUartCommand(const char *cmd)
{
	//printf("Receive command\r\n");
  if (strcmp(cmd, "START") == 0)
  {
	logging_enabled = 1;
    ISM330DHCX_StartSampling();
    //printf("OK START\r\n");
  }
  else if (strcmp(cmd, "STOP") == 0)
  {
	  logging_enabled = 0;
	  ISM330DHCX_StopSampling();
    //printf("OK STOP\r\n");
  }
}

static void FifoBuff_Push(int16_t ax, int16_t ay, int16_t az, uint32_t ts)
{
	if (fifo_sample_count >= FIFO_SAMPLE_BUF_SIZE)
	        return; // skydd mot overflow
    fifo_sample_buf[fifo_sample_count].ax = ax;
    fifo_sample_buf[fifo_sample_count].ay = ay;
    fifo_sample_buf[fifo_sample_count].az = az;
    fifo_sample_buf[fifo_sample_count].timestamp = ts;
}

static void ISM330DHCX_SensorInit(void)
{
    //uint8_t whoami;
    uint8_t rst;

    dev_ctx.read_reg  = platform_read;
    dev_ctx.write_reg = platform_write;
    dev_ctx.handle    = &hi2c2;

    //ism330dhcx_device_id_get(&dev_ctx, &whoami);
    //printf("WHO_AM_I = 0x%02X\r\n", whoami);

    /* Reset device */
    ism330dhcx_reset_set(&dev_ctx, PROPERTY_ENABLE);
    do {
        ism330dhcx_reset_get(&dev_ctx, &rst);
    } while (rst);

    /* Block Data Update */
    ism330dhcx_block_data_update_set(&dev_ctx, PROPERTY_ENABLE);

    /* Disable sensors initially */
    ism330dhcx_xl_data_rate_set(&dev_ctx, ISM330DHCX_XL_ODR_OFF);
    ism330dhcx_gy_data_rate_set(&dev_ctx, ISM330DHCX_GY_ODR_OFF);

    /* Configure accelerometer (but DO NOT enable) */
    ism330dhcx_xl_full_scale_set(&dev_ctx, ISM330DHCX_4g);

    /* FIFO configuration (static) */
    ism330dhcx_fifo_mode_set(&dev_ctx, ISM330DHCX_BYPASS_MODE);
    ism330dhcx_fifo_xl_batch_set(&dev_ctx, ISM330DHCX_XL_BATCHED_AT_3333Hz);
    ism330dhcx_fifo_gy_batch_set(&dev_ctx, ISM330DHCX_GY_NOT_BATCHED);

}

static void ISM330DHCX_StartSampling(void)
{
	//Ensure reset of variables in order to be able to rerun
	fifo_sample_count = 0;
    fs_total_samples = 0;
    fs_t0_ms = 0;

    /* Enable accelerometer */
    ism330dhcx_xl_data_rate_set(&dev_ctx, ISM330DHCX_XL_ODR_3332Hz);

    /* Enable FIFO stream */
    ism330dhcx_fifo_mode_set(&dev_ctx, ISM330DHCX_STREAM_MODE);

    //printf("Sampling started\r\n");
}

static void ISM330DHCX_StopSampling(void)
{
    /* Stop accelerometer */
    ism330dhcx_xl_data_rate_set(&dev_ctx, ISM330DHCX_XL_ODR_OFF);

    /* Stop FIFO */
    ism330dhcx_fifo_mode_set(&dev_ctx, ISM330DHCX_BYPASS_MODE);

    //printf("Sampling stopped\r\n");
}

static void ReadFIFOBlock(void)
{
    uint16_t fifo_level;
    //Read no of samples in sensor FIFO queue
    ism330dhcx_fifo_data_level_get(&dev_ctx, &fifo_level);

    // Vänta tills sensorns FIFO har tillräckligt med data
    if (fifo_level < FIFO_BLOCK_SAMPLES)
        return;

    while (fifo_level > 0 && fifo_sample_count < FIFO_SAMPLE_BUF_SIZE)
    {
        uint16_t samples_to_read =
            (fifo_level > FIFO_BLOCK_SAMPLES) ?
            FIFO_BLOCK_SAMPLES : fifo_level;

        //Ensure we don't read out more  data from FIFO queue than what we can store in fifo_sample_buff (prevent overflow)
        samples_to_read = (fifo_sample_count + samples_to_read > FIFO_SAMPLE_BUF_SIZE) ?
        		FIFO_SAMPLE_BUF_SIZE - fifo_sample_count : samples_to_read;

        uint16_t bytes = samples_to_read * FIFO_FRAME_SIZE;

        // BLOCK READ – EN I2C-TRANSAKTION
        platform_read(
            dev_ctx.handle,
            ISM330DHCX_FIFO_DATA_OUT_TAG,
            fifo_block,
            bytes
        );

        for (uint16_t i = 0; i < samples_to_read; i++)
        {
            uint8_t *s = &fifo_block[i * FIFO_FRAME_SIZE];

            uint8_t tag = (s[0] & 0xF8) >> 3;
            if (tag != ISM330DHCX_XL_NC_TAG)
                continue;

            int16_t ax = (int16_t)(s[2] << 8 | s[1]);
            int16_t ay = (int16_t)(s[4] << 8 | s[3]);
            int16_t az = (int16_t)(s[6] << 8 | s[5]);

            FifoBuff_Push(ax, ay, az, HAL_GetTick());

            fifo_sample_count++;
            fs_total_samples++;
        }

        fifo_level -= samples_to_read;
    }

    // Enkel frekvensmätning (valfri, kan tas bort senare)
    if (fs_t0_ms == 0)
        fs_t0_ms = HAL_GetTick();

    uint32_t now = HAL_GetTick();
    if (now - fs_t0_ms >= 5000)
    {
        float fs = fs_total_samples / 5.0f;
        printf("Measured sampling frequency: %.1f Hz\r\n", fs);
        printf("Total samples: %ld \r\n", fs_total_samples);
        fs_total_samples = 0;
        fs_t0_ms = now;
    }
}
static void SendFIFOBuff_UART(void)
{
    uint8_t start[2] = { BIN_START_1, BIN_START_2 };
    uint8_t end[2]   = { BIN_END_1, BIN_END_2 };

    /* Start marker */
    HAL_UART_Transmit(&huart1, start, 2, HAL_MAX_DELAY);

    /* Binary payload */
    HAL_UART_Transmit(
        &huart1,
        (uint8_t *)fifo_sample_buf,
        fifo_sample_count * sizeof(fifo_sample_t),
        HAL_MAX_DELAY
    );

    /* End marker */
    HAL_UART_Transmit(&huart1, end, 2, HAL_MAX_DELAY);
}

/* USER CODE END 4 */

void HAL_TIM_PeriodElapsedCallback(TIM_HandleTypeDef *htim)
{
  if (htim->Instance == TIM6)
  {
    HAL_IncTick();
  }
}

void Error_Handler(void)
{
  __disable_irq();
  while (1)
  {
  }
}
